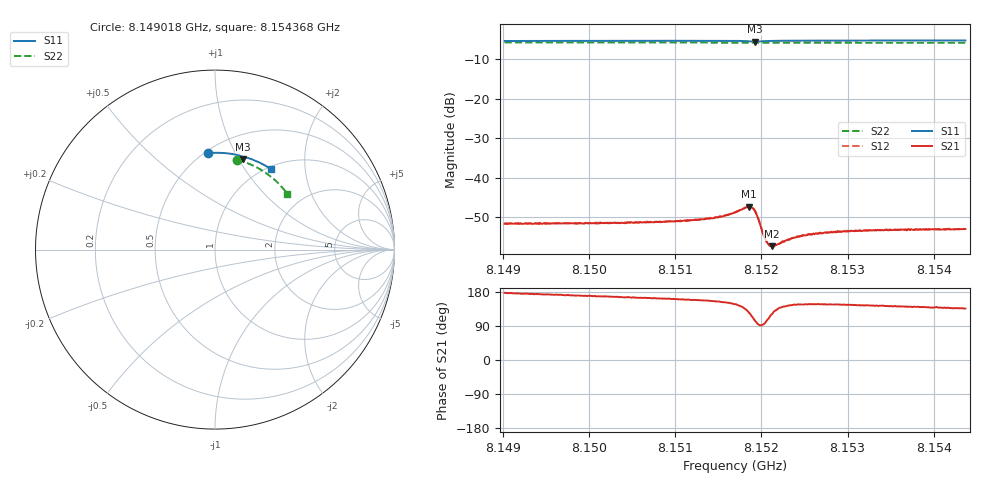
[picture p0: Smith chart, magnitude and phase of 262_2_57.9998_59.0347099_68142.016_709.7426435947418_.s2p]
#  HZ  S  RI  R  50.00
! Rohde & Schwarz Vector Network Analyzer
! Rohde-Schwarz,ZNB20-2Port,1311601062101988,3.16
! Created: UTC 3/21/2024, 1:02:01 AM
! freq[Hz]  re:S11  im:S11  re:S21  im:S21  re:S12  im:S12  re:S22  im:S22
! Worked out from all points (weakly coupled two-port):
!   401 points, 8.149018 GHz to 8.154368 GHz, reference 50 ohm
!   highest |S21| = -47.29 dB at 8.151853 GHz (marker M1); lowest = -57.3 dB at 8.152121 GHz (marker M2)
!   lowest |S11| = -5.5 dB at 8.15192 GHz (marker M3), VSWR 3.24, Z = 37.3 + j52.3 ohm
!   |S11| at or under -10 dB: nowhere
!   |S22| runs from -5.9 to -5.7 dB; largest |S21 - S12| = 0.00012
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8.1490176e9  -0.0389 0.5367  -0.00262 0.000124  -0.00267 0.000229  0.1243 0.5007
8.1499138e9  0.0236 0.539  -0.00261 0.000471  -0.00266 0.0005  0.1797 0.4826
8.1508101e9  0.0861 0.5342  -0.00265 0.000826  -0.0026 0.000895  0.2323 0.4584
8.1511846e9  0.1124 0.5297  -0.0027 0.00107  -0.0027 0.00111  0.2535 0.4465
8.1514254e9  0.1295 0.5258  -0.00281 0.00127  -0.00282 0.00131  0.2668 0.4384
8.1516127e9  0.1434 0.5216  -0.00294 0.00166  -0.003 0.00168  0.2768 0.4317
8.1516929e9  0.1495 0.519  -0.00307 0.00196  -0.00307 0.00205  0.2812 0.4288
8.1518534e9  0.1592 0.5087  -0.00253 0.0035  -0.00249 0.00355  0.2895 0.4225
8.1518936e9  0.1585 0.5057  -0.00168 0.00381  -0.00162 0.00388  0.2914 0.421
8.1519203e9  0.157 0.5049  -0.00102 0.00374  -0.00096 0.00381  0.2926 0.4202
8.1519605e9  0.1553 0.5066  -0.000238 0.00307  -0.000246 0.0031  0.2946 0.4188
8.152014e9  0.1571 0.5104  -0.000107 0.002  -6.03e-05 0.00203  0.2973 0.417
8.1520407e9  0.1593 0.5117  -0.000206 0.0017  -0.000172 0.00172  0.2988 0.416
8.1520808e9  0.1627 0.5128  -0.000467 0.00136  -0.000446 0.00136  0.3008 0.4146
8.152121e9  0.1663 0.5131  -0.000697 0.00117  -0.000719 0.00118  0.303 0.4131
8.1521745e9  0.171 0.5129  -0.000957 0.00104  -0.000943 0.00108  0.3057 0.4109
8.1523618e9  0.1854 0.5098  -0.00142 0.000991  -0.00141 0.00101  0.3152 0.4034
8.1524554e9  0.1922 0.5078  -0.00153 0.001  -0.00152 0.00101  0.3198 0.3995
8.1525892e9  0.2014 0.5046  -0.00162 0.00103  -0.00161 0.00108  0.3265 0.3941
8.1529771e9  0.2271 0.4946  -0.00173 0.0012  -0.00173 0.0012  0.3448 0.3774
8.1534854e9  0.2592 0.4794  -0.00171 0.00134  -0.00174 0.00136  0.3675 0.3543
8.1543683e9  0.312 0.4485  -0.00162 0.00157  -0.0016 0.00157  0.4033 0.3111
